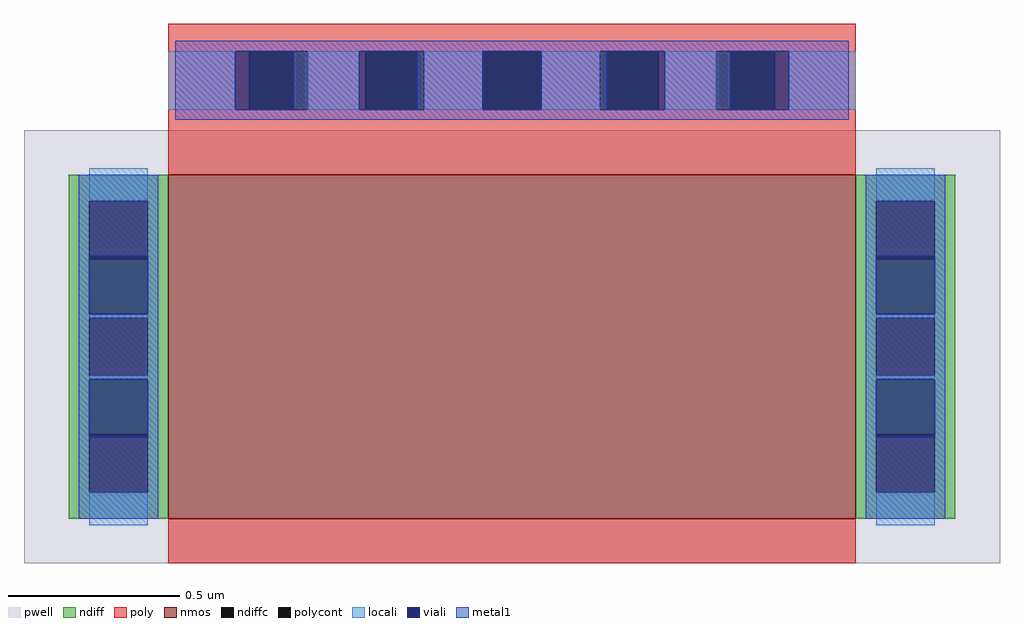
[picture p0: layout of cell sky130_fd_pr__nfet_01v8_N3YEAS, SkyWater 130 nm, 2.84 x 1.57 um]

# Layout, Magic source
magic
tech sky130A
magscale 1 2
<< pwell >>
rect -284 -157 284 95
<< nmos >>
rect -200 -131 200 69
<< ndiff >>
rect -258 54 -200 69
rect -258 20 -246 54
rect -212 20 -200 54
rect -258 -14 -200 20
rect -258 -48 -246 -14
rect -212 -48 -200 -14
rect -258 -82 -200 -48
rect -258 -116 -246 -82
rect -212 -116 -200 -82
rect -258 -131 -200 -116
rect 200 54 258 69
rect 200 20 212 54
rect 246 20 258 54
rect 200 -14 258 20
rect 200 -48 212 -14
rect 246 -48 258 -14
rect 200 -82 258 -48
rect 200 -116 212 -82
rect 246 -116 258 -82
rect 200 -131 258 -116
<< ndiffc >>
rect -246 20 -212 54
rect -246 -48 -212 -14
rect -246 -116 -212 -82
rect 212 20 246 54
rect 212 -48 246 -14
rect 212 -116 246 -82
<< poly >>
rect -200 141 200 157
rect -200 107 -153 141
rect -119 107 -85 141
rect -51 107 -17 141
rect 17 107 51 141
rect 85 107 119 141
rect 153 107 200 141
rect -200 69 200 107
rect -200 -157 200 -131
<< polycont >>
rect -153 107 -119 141
rect -85 107 -51 141
rect -17 107 17 141
rect 51 107 85 141
rect 119 107 153 141
<< locali >>
rect -200 107 -161 141
rect -119 107 -89 141
rect -51 107 -17 141
rect 17 107 51 141
rect 89 107 119 141
rect 161 107 200 141
rect -246 54 -212 73
rect -246 -14 -212 -12
rect -246 -50 -212 -48
rect -246 -135 -212 -116
rect 212 54 246 73
rect 212 -14 246 -12
rect 212 -50 246 -48
rect 212 -135 246 -116
<< viali >>
rect -161 107 -153 141
rect -153 107 -127 141
rect -89 107 -85 141
rect -85 107 -55 141
rect -17 107 17 141
rect 55 107 85 141
rect 85 107 89 141
rect 127 107 153 141
rect 153 107 161 141
rect -246 20 -212 22
rect -246 -12 -212 20
rect -246 -82 -212 -50
rect -246 -84 -212 -82
rect 212 20 246 22
rect 212 -12 246 20
rect 212 -82 246 -50
rect 212 -84 246 -82
<< metal1 >>
rect -196 141 196 147
rect -196 107 -161 141
rect -127 107 -89 141
rect -55 107 -17 141
rect 17 107 55 141
rect 89 107 127 141
rect 161 107 196 141
rect -196 101 196 107
rect -252 22 -206 69
rect -252 -12 -246 22
rect -212 -12 -206 22
rect -252 -50 -206 -12
rect -252 -84 -246 -50
rect -212 -84 -206 -50
rect -252 -131 -206 -84
rect 206 22 252 69
rect 206 -12 212 22
rect 246 -12 252 22
rect 206 -50 252 -12
rect 206 -84 212 -50
rect 246 -84 252 -50
rect 206 -131 252 -84
<< end >>
